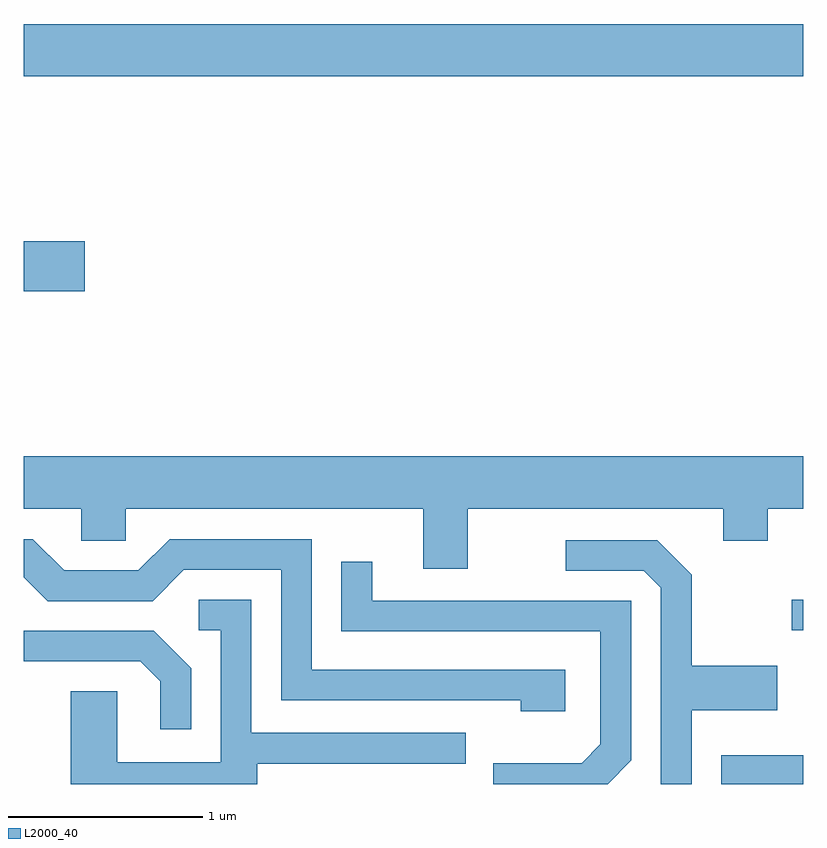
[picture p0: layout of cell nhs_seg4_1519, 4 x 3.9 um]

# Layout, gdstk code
import gdstk
lib = gdstk.Library(unit=1e-6, precision=1e-09)
def R(c, l, rs):  # rectangles x0, y0, x1, y1
    for r in rs: c.add(gdstk.rectangle(r[:2], r[2:], *l))
def P(c, l, *ps):  # polygons
    for p in ps: c.add(gdstk.Polygon(p, *l))
L2000_40 = (2000, 40)

nhs_seg4_1519 = lib.new_cell('nhs_seg4_1519')
R(nhs_seg4_1519, L2000_40, [(233.191,1299.982,233.611,1300.129), (233.553,1300.771,233.611,1300.929), (229.611,1302.511,229.924,1302.769), (229.611,1303.616,233.611,1303.884)])
P(nhs_seg4_1519, L2000_40, [(231.889,1301.396),(233.201,1301.396),(233.201,1301.231),(233.429,1301.231),(233.429,1301.396),(233.611,1301.396),(233.611,1301.664),(229.611,1301.664),(229.611,1301.396),(229.906,1301.396),(229.906,1301.231),(230.134,1301.231),(230.134,1301.396),(231.661,1301.396),(231.661,1301.086),(231.889,1301.086)],
  [(232.389,1300.569),(231.089,1300.569),(231.089,1301.239),(230.359,1301.239),(230.199,1301.079),(229.817,1301.079),(229.657,1301.239),(229.611,1301.239),(229.611,1301.044),(229.734,1300.921),(230.272,1300.921),(230.432,1301.081),(230.931,1301.081),(230.931,1300.411),(232.161,1300.411),(232.161,1300.356),(232.389,1300.356)],
  [(233.039,1300.361),(233.479,1300.361),(233.479,1300.589),(233.039,1300.589),(233.039,1301.057),(232.862,1301.234),(232.393,1301.234),(232.393,1301.076),(232.794,1301.076),(232.881,1300.989),(232.881,1299.982),(233.039,1299.982)],
  [(232.729,1300.104),(232.729,1300.924),(231.399,1300.924),(231.399,1301.123),(231.241,1301.123),(231.241,1300.766),(232.571,1300.766),(232.571,1300.187),(232.474,1300.089),(232.021,1300.089),(232.021,1299.982),(232.608,1299.982)],
  [(230.809,1300.086),(231.878,1300.086),(231.878,1300.244),(230.779,1300.244),(230.779,1300.929),(230.508,1300.929),(230.508,1300.771),(230.621,1300.771),(230.621,1300.094),(230.089,1300.094),(230.089,1300.459),(229.851,1300.459),(229.851,1299.982),(230.809,1299.982)],
  [(230.469,1300.577),(230.277,1300.769),(229.611,1300.769),(229.611,1300.611),(230.209,1300.611),(230.311,1300.509),(230.311,1300.263),(230.469,1300.263)])

lib.write_gds('nhs_seg4_1519.gds')
